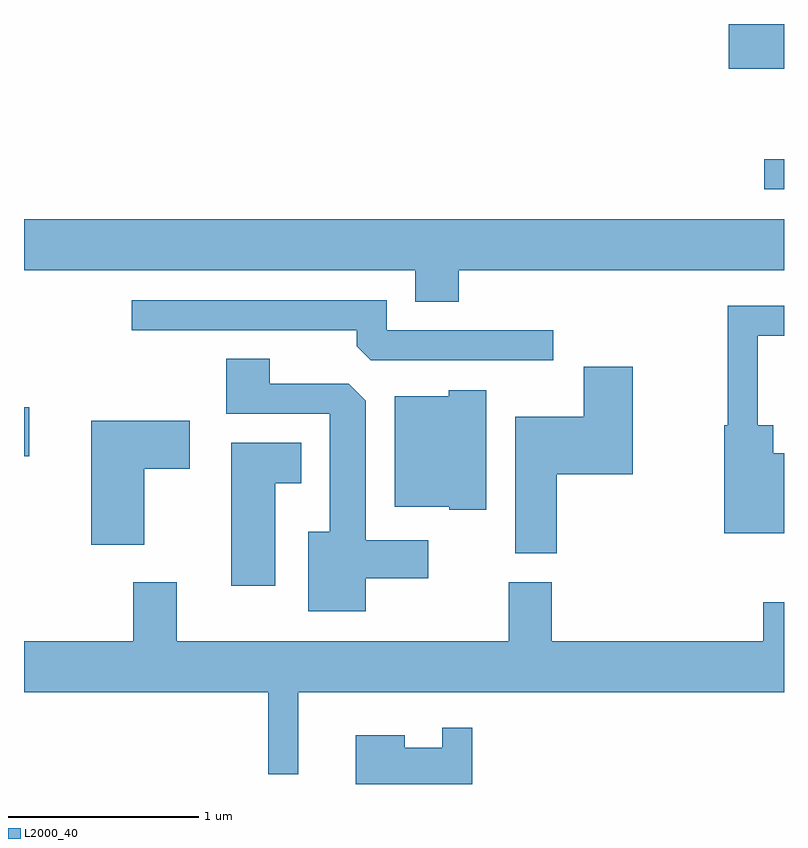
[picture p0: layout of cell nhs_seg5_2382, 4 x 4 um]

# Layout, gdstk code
import gdstk
lib = gdstk.Library(unit=1e-6, precision=1e-09)
def R(c, l, rs):  # rectangles x0, y0, x1, y1
    for r in rs: c.add(gdstk.rectangle(r[:2], r[2:], *l))
def P(c, l, *ps):  # polygons
    for p in ps: c.add(gdstk.Polygon(p, *l))
L2000_40 = (2000, 40)

nhs_seg5_2382 = lib.new_cell('nhs_seg5_2382')
R(nhs_seg5_2382, L2000_40, [(255.611,1475.796,255.639,1476.054), (259.508,1477.201,259.611,1477.359), (259.321,1477.836,259.611,1478.072)])
P(nhs_seg5_2382, L2000_40, [(257.899,1476.776),(259.611,1476.776),(259.611,1477.044),(255.611,1477.044),(255.611,1476.776),(257.671,1476.776),(257.671,1476.611),(257.899,1476.611)],
  [(258.397,1476.459),(257.519,1476.459),(257.519,1476.619),(256.178,1476.619),(256.178,1476.461),(257.361,1476.461),(257.361,1476.377),(257.437,1476.301),(258.397,1476.301)],
  [(259.611,1475.814),(259.554,1475.814),(259.554,1475.959),(259.474,1475.959),(259.474,1476.431),(259.611,1476.431),(259.611,1476.589),(259.316,1476.589),(259.316,1475.959),(259.296,1475.959),(259.296,1475.391),(259.611,1475.391)],
  [(257.409,1475.156),(257.739,1475.156),(257.739,1475.354),(257.409,1475.354),(257.409,1476.089),(257.319,1476.179),(256.904,1476.179),(256.904,1476.309),(256.676,1476.309),(256.676,1476.021),(257.221,1476.021),(257.221,1475.399),(257.106,1475.399),(257.106,1474.981),(257.409,1474.981)],
  [(258.414,1475.701),(258.814,1475.701),(258.814,1476.269),(258.556,1476.269),(258.556,1476.004),(258.196,1476.004),(258.196,1475.286),(258.414,1475.286)],
  [(258.044,1476.144),(257.846,1476.144),(257.846,1476.114),(257.561,1476.114),(257.561,1475.531),(257.85,1475.531),(257.85,1475.516),(258.044,1475.516)],
  [(256.244,1475.731),(256.484,1475.731),(256.484,1475.984),(255.966,1475.984),(255.966,1475.331),(256.244,1475.331)],
  [(256.934,1475.656),(257.069,1475.656),(257.069,1475.869),(256.701,1475.869),(256.701,1475.116),(256.934,1475.116)],
  [(257.054,1474.556),(259.611,1474.556),(259.611,1475.029),(259.501,1475.029),(259.501,1474.824),(258.389,1474.824),(258.389,1475.134),(258.161,1475.134),(258.161,1474.824),(256.414,1474.824),(256.414,1475.134),(256.186,1475.134),(256.186,1474.824),(255.611,1474.824),(255.611,1474.556),(256.896,1474.556),(256.896,1474.123),(257.054,1474.123)],
  [(257.969,1474.368),(257.811,1474.368),(257.811,1474.264),(257.614,1474.264),(257.614,1474.329),(257.356,1474.329),(257.356,1474.072),(257.969,1474.072)])

lib.write_gds('nhs_seg5_2382.gds')
